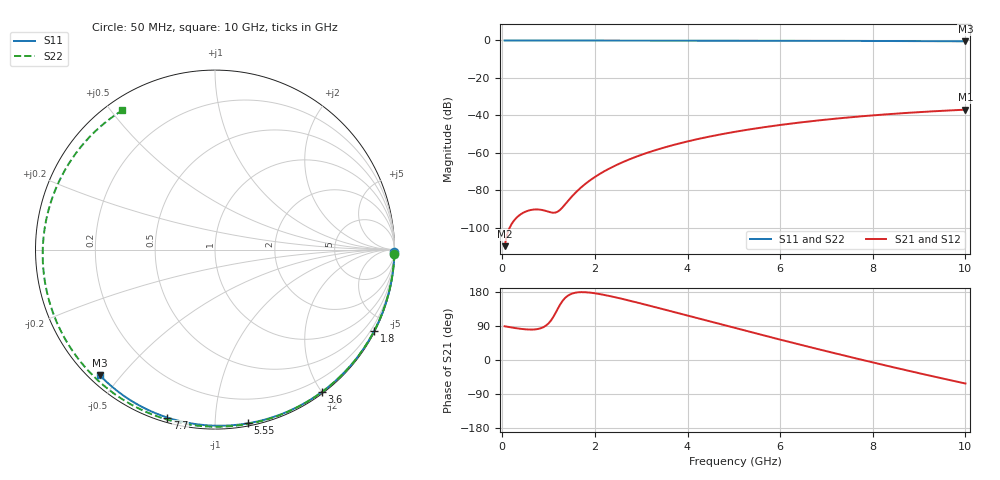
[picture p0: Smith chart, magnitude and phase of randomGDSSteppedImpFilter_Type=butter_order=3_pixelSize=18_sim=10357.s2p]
! freq	dB(S11)	phase(S11)	dB(S12)	phase(S12)
!  dB(S21)	phase(S21)	dB(S22)	phase(S22)
!S-par simulation data
#  GHz  S  DB  R 50
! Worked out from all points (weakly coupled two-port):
!   200 points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, 50 MHz to 10 GHz, reference 50 ohm
!   highest |S21| = -36.97 dB at 10 GHz (marker M1); lowest = -109.9 dB at 50 MHz (marker M2)
!   lowest |S11| = -0.4 dB at 10 GHz (marker M3), VSWR 38.67, Z = 1.54 - j22 ohm
!   |S11| at or under -10 dB: nowhere
!   |S22| runs from -0.6 to 0.0 dB; largest |S21 - S12| = 0
!   S11 on the Smith chart (normalised r, x): 50 MHz: open; 1.8 GHz: 0.04, -4.14; 3.6 GHz: 0.02, -2.00; 5.55 GHz: 0.02, -1.21; 7.7 GHz: 0.02, -0.76; 10 GHz: 0.03, -0.44
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0.05  -0.00 -0.8  -109.86 89.0  -109.86 89.0  -0.00 -1.5
0.4  -0.01 -6.1  -92.77 82.2  -92.77 82.2  -0.02 -11.5
0.8  -0.02 -12.2  -90.31 82.7  -90.31 82.7  -0.03 -22.9
1.6  -0.03 -24.2  -80.82 178.1  -80.82 178.1  -0.06 -45.1
1.65  -0.03 -24.9  -79.64 178.8  -79.64 178.8  -0.06 -46.4
1.75  -0.03 -26.4  -77.46 179.1  -77.46 179.1  -0.06 -49.1
1.8  -0.03 -27.1  -76.46 178.8  -76.46 178.8  -0.06 -50.5
2.1  -0.04 -31.6  -71.34 174.1  -71.34 174.1  -0.07 -58.4
2.5  -0.05 -37.4  -66.11 163.9  -66.11 163.9  -0.09 -68.8
2.9  -0.06 -43.2  -62.00 152.0  -62.00 152.0  -0.10 -78.9
3.4  -0.07 -50.3  -57.88 136.4  -57.88 136.4  -0.12 -91.1
3.6  -0.07 -53.1  -56.45 130.0  -56.45 130.0  -0.12 -95.8
4.3  -0.09 -62.7  -52.23 107.5  -52.23 107.5  -0.15 -111.9
5.05  -0.11 -72.7  -48.67 83.6  -48.67 83.6  -0.19 -128.4
5.55  -0.13 -79.3  -46.70 67.8  -46.70 67.8  -0.21 -139.1
6.15  -0.15 -86.9  -44.65 49.1  -44.65 49.1  -0.25 -151.6
6.7  -0.18 -93.7  -43.04 32.3  -43.04 32.3  -0.29 -163.1
7.2  -0.21 -99.8  -41.75 17.2  -41.75 17.2  -0.33 -173.5
7.7  -0.24 -105.8  -40.62 2.4  -40.62 2.4  -0.37 175.9
8.35  -0.29 -113.5  -39.35 -16.5  -39.35 -16.5  -0.44 161.9
9.15  -0.36 -122.8  -38.05 -39.0  -38.05 -39.0  -0.52 144.0
10  -0.45 -132.5  -36.97 -62.0  -36.97 -62.0  -0.61 123.7
